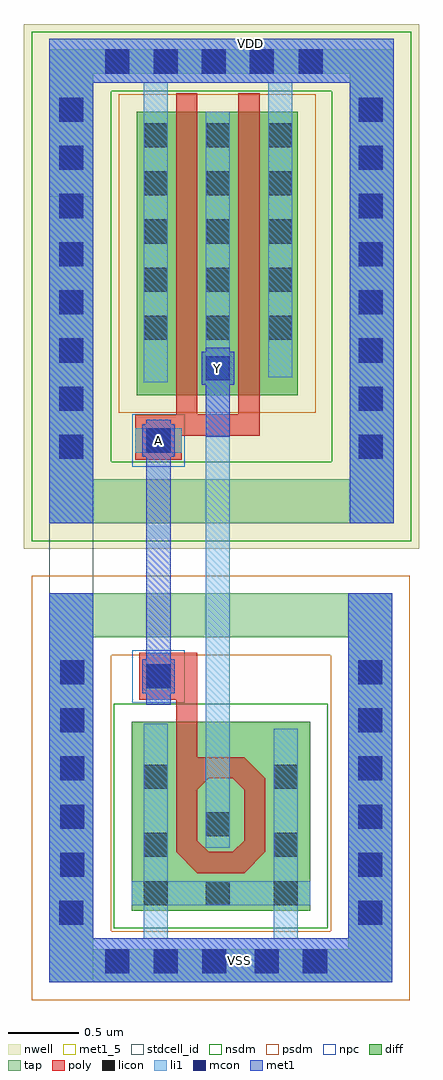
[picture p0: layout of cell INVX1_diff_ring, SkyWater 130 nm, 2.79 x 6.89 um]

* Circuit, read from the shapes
.subckt INVX1_diff_ring A VDD VSS Y
XM1 VSS A Y VSS sky130_fd_pr__nfet_01v8 w=2.475 l=0.1487
XM2 Y A VDD VDD sky130_fd_pr__pfet_01v8 w=2 l=0.15 m=2
.ends

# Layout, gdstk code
import gdstk
lib = gdstk.Library(unit=1e-6, precision=1e-09)
def R(c, l, rs):  # rectangles x0, y0, x1, y1
    for r in rs: c.add(gdstk.rectangle(r[:2], r[2:], *l))
def A(c, l, x, y, w, h, nx, ny, dx, dy):  # array of equal rectangles
    R(c, l, [(x+i*dx, y+j*dy, x+i*dx+w, y+j*dy+h) for i in range(nx) for j in range(ny)])
def P(c, l, *ps):  # polygons
    for p in ps: c.add(gdstk.Polygon(p, *l))
nwell = (64, 20)
diff = (65, 20)
tap = (65, 44)
poly = (66, 20)
licon = (66, 44)
li1 = (67, 20)
mcon = (67, 44)
met1_5 = (68, 5)
met1 = (68, 20)
stdcell_id = (81, 4)
nsdm = (93, 44)
psdm = (94, 20)
npc = (95, 20)

invx1_diff_ring = lib.new_cell('INVX1_diff_ring')
R(invx1_diff_ring, nwell, [(-0.795,3.06,1.995,6.765)])
R(invx1_diff_ring, diff, [(-0.035,0.505,1.225,1.84), (0,4.145,1.14,6.145)])
R(invx1_diff_ring, tap, [(-0.615,0,1.805,0.235), (-0.615,0.235,-0.305,2.435), (1.495,0.235,1.805,2.435), (-0.615,2.435,1.805,2.745), (-0.615,3.24,1.815,3.55), (-0.615,3.55,-0.305,6.415), (1.505,3.55,1.815,6.415), (-0.615,6.415,1.815,6.585)])
R(invx1_diff_ring, poly, [(0.43,0.77,0.76,0.92), (0.28,0.92,0.43,1.44), (0.76,0.92,0.91,1.44), (0.28,1.44,0.76,1.59), (0.28,1.59,0.43,1.995), (0.02,1.995,0.43,2.325), (-0.01,3.69,0.32,3.86), (-0.01,3.86,0.87,4.005), (0.28,4.005,0.87,4.01), (0.28,4.01,0.43,6.275), (0.72,4.01,0.87,6.275)])
P(invx1_diff_ring, poly, [(0.76,1.59),(0.76,1.44),(0.91,1.44)],
  [(0.43,1.36),(0.43,1.44),(0.51,1.44)],
  [(0.68,1.44),(0.76,1.44),(0.76,1.36)],
  [(0.43,1),(0.43,0.92),(0.51,0.92)],
  [(0.68,0.92),(0.76,0.92),(0.76,1)],
  [(0.28,0.92),(0.43,0.92),(0.43,0.77)],
  [(0.76,0.77),(0.76,0.92),(0.91,0.92)])
A(invx1_diff_ring, licon, 1.565, 0.405, 0.17, 0.17, 1, 6, 0, 0.34)
A(invx1_diff_ring, licon, -0.54, 0.745, 0.17, 0.17, 1, 5, 0, 0.34)
A(invx1_diff_ring, licon, -0.545, 3.695, 0.17, 0.17, 1, 8, 0, 0.34)
A(invx1_diff_ring, licon, 1.57, 3.695, 0.17, 0.17, 1, 8, 0, 0.34)
A(invx1_diff_ring, licon, 0.05, 4.535, 0.17, 0.17, 3, 5, 0.44, 0.34)
A(invx1_diff_ring, licon, -0.22, 6.415, 0.17, 0.17, 4, 1, 0.34, 0)
R(invx1_diff_ring, licon, [(-0.22,0.065,-0.05,0.235), (0.12,0.065,0.29,0.235), (0.465,0.065,0.635,0.235), (0.835,0.065,1.005,0.235), (1.175,0.065,1.345,0.235), (-0.545,0.405,-0.375,0.575), (0.05,0.545,0.22,0.715), (0.49,0.545,0.66,0.715), (0.97,0.545,1.14,0.715), (0.05,0.885,0.22,1.055), (0.97,0.885,1.14,1.055), (0.49,1.03,0.66,1.2), (0.05,1.365,0.22,1.535), (0.97,1.365,1.14,1.535), (0.07,2.075,0.24,2.245), (0.07,3.74,0.24,3.91), (1.145,6.415,1.315,6.585)])
R(invx1_diff_ring, li1, [(-0.615,0,1.805,0.31), (-0.615,0.31,-0.305,2.745), (0.05,0.31,0.22,0.545), (0.97,0.31,1.14,0.545), (1.495,0.31,1.805,2.745), (-0.035,0.545,1.225,0.715), (0.05,0.715,0.22,1.825), (0.97,0.715,1.14,1.79), (0.49,0.95,0.66,6.145), (0.07,1.995,0.24,2.325), (-0.615,3.24,-0.305,6.35), (1.505,3.24,1.815,6.35), (-0.01,3.74,0.32,3.91), (0.05,4.235,0.22,6.35), (0.93,4.27,1.1,6.35), (-0.615,6.35,1.815,6.66)])
A(invx1_diff_ring, mcon, 1.565, 0.405, 0.17, 0.17, 1, 6, 0, 0.34)
A(invx1_diff_ring, mcon, -0.54, 0.745, 0.17, 0.17, 1, 5, 0, 0.34)
A(invx1_diff_ring, mcon, -0.545, 3.695, 0.17, 0.17, 1, 8, 0, 0.34)
A(invx1_diff_ring, mcon, 1.57, 3.695, 0.17, 0.17, 1, 8, 0, 0.34)
A(invx1_diff_ring, mcon, -0.22, 6.415, 0.17, 0.17, 4, 1, 0.34, 0)
R(invx1_diff_ring, mcon, [(-0.22,0.065,-0.05,0.235), (0.12,0.065,0.29,0.235), (0.465,0.065,0.635,0.235), (0.835,0.065,1.005,0.235), (1.175,0.065,1.345,0.235), (-0.545,0.405,-0.375,0.575), (0.07,2.075,0.24,2.245), (0.07,3.74,0.24,3.91), (0.49,4.25,0.66,4.42), (1.145,6.415,1.315,6.585)])
R(invx1_diff_ring, met1_5, [(0.07,3.74,0.24,3.91), (0.49,4.25,0.66,4.42)])
R(invx1_diff_ring, met1, [(-0.615,0,1.805,0.31), (-0.615,0.31,-0.305,2.745), (1.495,0.31,1.805,2.745), (0.07,1.96,0.24,2.04), (0.04,2.04,0.27,2.28), (0.07,2.28,0.24,3.71), (-0.615,3.24,-0.305,6.35), (1.505,3.24,1.815,6.35), (0.04,3.71,0.27,3.94), (0.49,3.85,0.66,4.22), (0.07,3.94,0.24,3.97), (0.46,4.22,0.69,4.45), (0.49,4.45,0.66,4.48), (-0.615,6.35,1.815,6.66)])
R(invx1_diff_ring, stdcell_id, [(-0.615,0,-0.305,5.55)])
R(invx1_diff_ring, nsdm, [(-0.16,0.38,1.35,1.965), (-0.74,3.115,1.94,3.675), (-0.74,3.675,-0.18,6.29), (1.38,3.675,1.94,6.29), (-0.74,6.29,1.94,6.71)])
R(invx1_diff_ring, psdm, [(-0.74,-0.125,1.93,0.36), (-0.74,0.36,-0.18,2.31), (1.37,0.36,1.93,2.31), (-0.74,2.31,1.93,2.87), (-0.125,4.02,1.265,6.27)])
R(invx1_diff_ring, npc, [(-0.03,1.975,0.34,2.345), (-0.03,3.64,0.34,4.01)])
invx1_diff_ring.add(gdstk.Label('VDD', (0.805,6.625), layer=68, texttype=5))
invx1_diff_ring.add(gdstk.Label('Y', (0.575,4.335), layer=68, texttype=5))
invx1_diff_ring.add(gdstk.Label('A', (0.155,3.825), layer=68, texttype=5))
invx1_diff_ring.add(gdstk.Label('VSS', (0.73,0.155), layer=68, texttype=5))

lib.write_gds('INVX1_diff_ring.gds')
